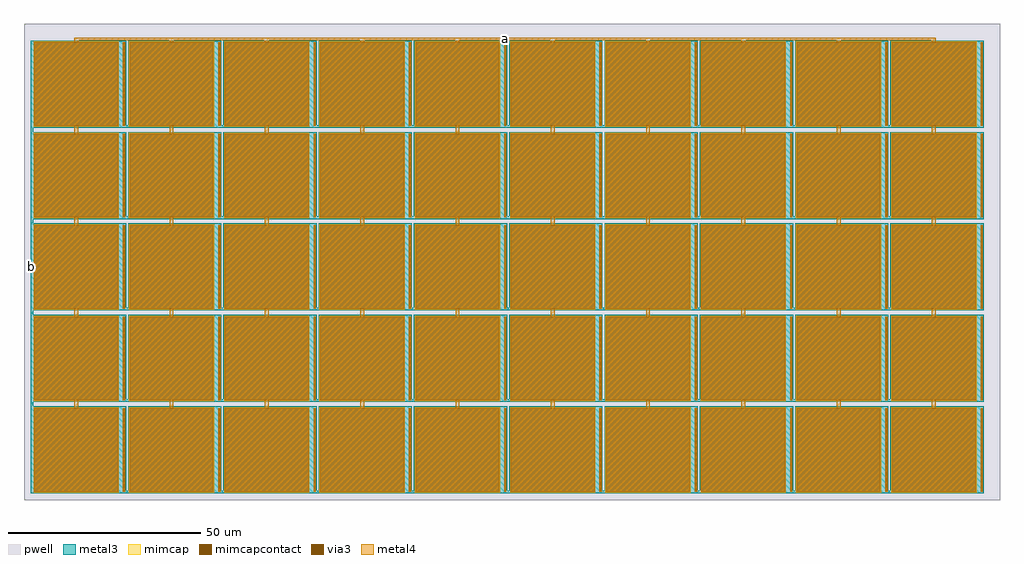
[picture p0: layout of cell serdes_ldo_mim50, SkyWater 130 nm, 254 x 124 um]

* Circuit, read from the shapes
.subckt serdes_ldo_mim50 a b
XC1 a b sky130_fd_pr__cap_mim_m3_1 w=22.2 l=22.2 m=50
.ends

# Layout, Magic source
magic
tech sky130A
magscale 1 2
<< pwell >>
rect 0 0 50800 24800
<< metal3 >>
rect 456 356 5310 4884
rect 5416 356 10270 4884
rect 10376 356 15230 4884
rect 15336 356 20190 4884
rect 20296 356 25150 4884
rect 25256 356 30110 4884
rect 30216 356 35070 4884
rect 35176 356 40030 4884
rect 40136 356 44990 4884
rect 45096 356 49950 4884
rect 400 356 49950 490
rect 456 5116 5310 9644
rect 5416 5116 10270 9644
rect 10376 5116 15230 9644
rect 15336 5116 20190 9644
rect 20296 5116 25150 9644
rect 25256 5116 30110 9644
rect 30216 5116 35070 9644
rect 35176 5116 40030 9644
rect 40136 5116 44990 9644
rect 45096 5116 49950 9644
rect 400 5116 49950 5250
rect 456 9876 5310 14404
rect 5416 9876 10270 14404
rect 10376 9876 15230 14404
rect 15336 9876 20190 14404
rect 20296 9876 25150 14404
rect 25256 9876 30110 14404
rect 30216 9876 35070 14404
rect 35176 9876 40030 14404
rect 40136 9876 44990 14404
rect 45096 9876 49950 14404
rect 400 9876 49950 10010
rect 456 14636 5310 19164
rect 5416 14636 10270 19164
rect 10376 14636 15230 19164
rect 15336 14636 20190 19164
rect 20296 14636 25150 19164
rect 25256 14636 30110 19164
rect 30216 14636 35070 19164
rect 35176 14636 40030 19164
rect 40136 14636 44990 19164
rect 45096 14636 49950 19164
rect 400 14636 49950 14770
rect 456 19396 5310 23924
rect 5416 19396 10270 23924
rect 10376 19396 15230 23924
rect 15336 19396 20190 23924
rect 20296 19396 25150 23924
rect 25256 19396 30110 23924
rect 30216 19396 35070 23924
rect 35176 19396 40030 23924
rect 40136 19396 44990 23924
rect 45096 19396 49950 23924
rect 400 19396 49950 19530
rect 340 356 470 23924
<< mimcap >>
rect 500 400 4940 4840
rect 5460 400 9900 4840
rect 10420 400 14860 4840
rect 15380 400 19820 4840
rect 20340 400 24780 4840
rect 25300 400 29740 4840
rect 30260 400 34700 4840
rect 35220 400 39660 4840
rect 40180 400 44620 4840
rect 45140 400 49580 4840
rect 500 5160 4940 9600
rect 5460 5160 9900 9600
rect 10420 5160 14860 9600
rect 15380 5160 19820 9600
rect 20340 5160 24780 9600
rect 25300 5160 29740 9600
rect 30260 5160 34700 9600
rect 35220 5160 39660 9600
rect 40180 5160 44620 9600
rect 45140 5160 49580 9600
rect 500 9920 4940 14360
rect 5460 9920 9900 14360
rect 10420 9920 14860 14360
rect 15380 9920 19820 14360
rect 20340 9920 24780 14360
rect 25300 9920 29740 14360
rect 30260 9920 34700 14360
rect 35220 9920 39660 14360
rect 40180 9920 44620 14360
rect 45140 9920 49580 14360
rect 500 14680 4940 19120
rect 5460 14680 9900 19120
rect 10420 14680 14860 19120
rect 15380 14680 19820 19120
rect 20340 14680 24780 19120
rect 25300 14680 29740 19120
rect 30260 14680 34700 19120
rect 35220 14680 39660 19120
rect 40180 14680 44620 19120
rect 45140 14680 49580 19120
rect 500 19440 4940 23880
rect 5460 19440 9900 23880
rect 10420 19440 14860 23880
rect 15380 19440 19820 23880
rect 20340 19440 24780 23880
rect 25300 19440 29740 23880
rect 30260 19440 34700 23880
rect 35220 19440 39660 23880
rect 40180 19440 44620 23880
rect 45140 19440 49580 23880
<< mimcapcontact >>
rect 540 440 4900 4800
rect 5500 440 9860 4800
rect 10460 440 14820 4800
rect 15420 440 19780 4800
rect 20380 440 24740 4800
rect 25340 440 29700 4800
rect 30300 440 34660 4800
rect 35260 440 39620 4800
rect 40220 440 44580 4800
rect 45180 440 49540 4800
rect 540 5200 4900 9560
rect 5500 5200 9860 9560
rect 10460 5200 14820 9560
rect 15420 5200 19780 9560
rect 20380 5200 24740 9560
rect 25340 5200 29700 9560
rect 30300 5200 34660 9560
rect 35260 5200 39620 9560
rect 40220 5200 44580 9560
rect 45180 5200 49540 9560
rect 540 9960 4900 14320
rect 5500 9960 9860 14320
rect 10460 9960 14820 14320
rect 15420 9960 19780 14320
rect 20380 9960 24740 14320
rect 25340 9960 29700 14320
rect 30300 9960 34660 14320
rect 35260 9960 39620 14320
rect 40220 9960 44580 14320
rect 45180 9960 49540 14320
rect 540 14720 4900 19080
rect 5500 14720 9860 19080
rect 10460 14720 14820 19080
rect 15420 14720 19780 19080
rect 20380 14720 24740 19080
rect 25340 14720 29700 19080
rect 30300 14720 34660 19080
rect 35260 14720 39620 19080
rect 40220 14720 44580 19080
rect 45180 14720 49540 19080
rect 540 19480 4900 23840
rect 5500 19480 9860 23840
rect 10460 19480 14820 23840
rect 15420 19480 19780 23840
rect 20380 19480 24740 23840
rect 25340 19480 29700 23840
rect 30300 19480 34660 23840
rect 35260 19480 39620 23840
rect 40220 19480 44580 23840
rect 45180 19480 49540 23840
<< metal4 >>
rect 540 440 4900 4800
rect 5150 440 5270 4800
rect 5500 440 9860 4800
rect 10110 440 10230 4800
rect 10460 440 14820 4800
rect 15070 440 15190 4800
rect 15420 440 19780 4800
rect 20030 440 20150 4800
rect 20380 440 24740 4800
rect 24990 440 25110 4800
rect 25340 440 29700 4800
rect 29950 440 30070 4800
rect 30300 440 34660 4800
rect 34910 440 35030 4800
rect 35260 440 39620 4800
rect 39870 440 39990 4800
rect 40220 440 44580 4800
rect 44830 440 44950 4800
rect 45180 440 49540 4800
rect 49790 440 49910 4800
rect 540 5200 4900 9560
rect 5150 5200 5270 9560
rect 5500 5200 9860 9560
rect 10110 5200 10230 9560
rect 10460 5200 14820 9560
rect 15070 5200 15190 9560
rect 15420 5200 19780 9560
rect 20030 5200 20150 9560
rect 20380 5200 24740 9560
rect 24990 5200 25110 9560
rect 25340 5200 29700 9560
rect 29950 5200 30070 9560
rect 30300 5200 34660 9560
rect 34910 5200 35030 9560
rect 35260 5200 39620 9560
rect 39870 5200 39990 9560
rect 40220 5200 44580 9560
rect 44830 5200 44950 9560
rect 45180 5200 49540 9560
rect 49790 5200 49910 9560
rect 540 9960 4900 14320
rect 5150 9960 5270 14320
rect 5500 9960 9860 14320
rect 10110 9960 10230 14320
rect 10460 9960 14820 14320
rect 15070 9960 15190 14320
rect 15420 9960 19780 14320
rect 20030 9960 20150 14320
rect 20380 9960 24740 14320
rect 24990 9960 25110 14320
rect 25340 9960 29700 14320
rect 29950 9960 30070 14320
rect 30300 9960 34660 14320
rect 34910 9960 35030 14320
rect 35260 9960 39620 14320
rect 39870 9960 39990 14320
rect 40220 9960 44580 14320
rect 44830 9960 44950 14320
rect 45180 9960 49540 14320
rect 49790 9960 49910 14320
rect 540 14720 4900 19080
rect 5150 14720 5270 19080
rect 5500 14720 9860 19080
rect 10110 14720 10230 19080
rect 10460 14720 14820 19080
rect 15070 14720 15190 19080
rect 15420 14720 19780 19080
rect 20030 14720 20150 19080
rect 20380 14720 24740 19080
rect 24990 14720 25110 19080
rect 25340 14720 29700 19080
rect 29950 14720 30070 19080
rect 30300 14720 34660 19080
rect 34910 14720 35030 19080
rect 35260 14720 39620 19080
rect 39870 14720 39990 19080
rect 40220 14720 44580 19080
rect 44830 14720 44950 19080
rect 45180 14720 49540 19080
rect 49790 14720 49910 19080
rect 540 19480 4900 23840
rect 5150 19480 5270 23840
rect 5500 19480 9860 23840
rect 10110 19480 10230 23840
rect 10460 19480 14820 23840
rect 15070 19480 15190 23840
rect 15420 19480 19780 23840
rect 20030 19480 20150 23840
rect 20380 19480 24740 23840
rect 24990 19480 25110 23840
rect 25340 19480 29700 23840
rect 29950 19480 30070 23840
rect 30300 19480 34660 23840
rect 34910 19480 35030 23840
rect 35260 19480 39620 23840
rect 39870 19480 39990 23840
rect 40220 19480 44580 23840
rect 44830 19480 44950 23840
rect 45180 19480 49540 23840
rect 49790 19480 49910 23840
rect 2620 500 2820 24044
rect 7580 500 7780 24044
rect 12540 500 12740 24044
rect 17500 500 17700 24044
rect 22460 500 22660 24044
rect 27420 500 27620 24044
rect 32380 500 32580 24044
rect 37340 500 37540 24044
rect 42300 500 42500 24044
rect 47260 500 47460 24044
rect 2620 23944 47460 24084
<< via3 >>
rect 5166 480 5254 4760
rect 10126 480 10214 4760
rect 15086 480 15174 4760
rect 20046 480 20134 4760
rect 25006 480 25094 4760
rect 29966 480 30054 4760
rect 34926 480 35014 4760
rect 39886 480 39974 4760
rect 44846 480 44934 4760
rect 49806 480 49894 4760
rect 5166 5240 5254 9520
rect 10126 5240 10214 9520
rect 15086 5240 15174 9520
rect 20046 5240 20134 9520
rect 25006 5240 25094 9520
rect 29966 5240 30054 9520
rect 34926 5240 35014 9520
rect 39886 5240 39974 9520
rect 44846 5240 44934 9520
rect 49806 5240 49894 9520
rect 5166 10000 5254 14280
rect 10126 10000 10214 14280
rect 15086 10000 15174 14280
rect 20046 10000 20134 14280
rect 25006 10000 25094 14280
rect 29966 10000 30054 14280
rect 34926 10000 35014 14280
rect 39886 10000 39974 14280
rect 44846 10000 44934 14280
rect 49806 10000 49894 14280
rect 5166 14760 5254 19040
rect 10126 14760 10214 19040
rect 15086 14760 15174 19040
rect 20046 14760 20134 19040
rect 25006 14760 25094 19040
rect 29966 14760 30054 19040
rect 34926 14760 35014 19040
rect 39886 14760 39974 19040
rect 44846 14760 44934 19040
rect 49806 14760 49894 19040
rect 5166 19520 5254 23800
rect 10126 19520 10214 23800
rect 15086 19520 15174 23800
rect 20046 19520 20134 23800
rect 25006 19520 25094 23800
rect 29966 19520 30054 23800
rect 34926 19520 35014 23800
rect 39886 19520 39974 23800
rect 44846 19520 44934 23800
rect 49806 19520 49894 23800
<< labels >>
rlabel metal4 25040 24014 25040 24014 1 a
rlabel metal3 404 12162 404 12162 1 b
<< end >>
